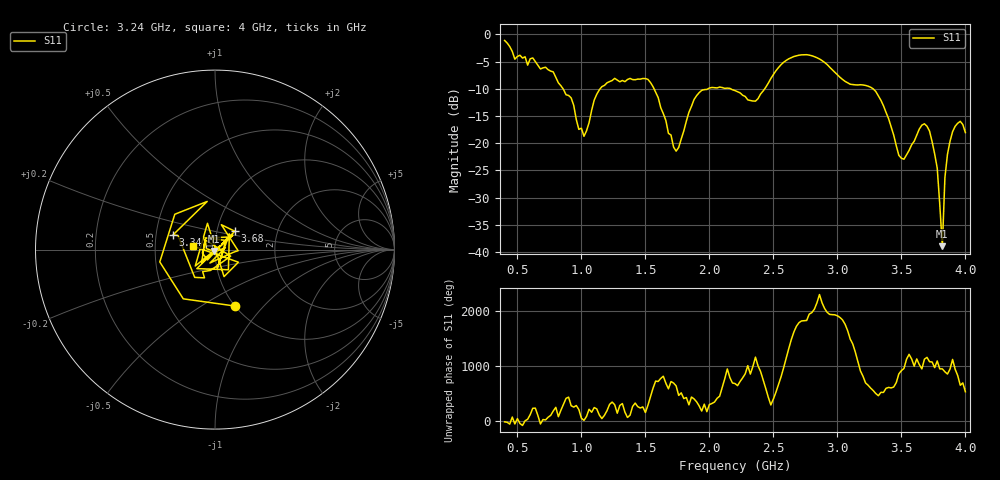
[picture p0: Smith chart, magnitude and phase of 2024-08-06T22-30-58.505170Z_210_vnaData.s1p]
!Created with skrf (http://scikit-rf.org).
# Hz S RI R 50.0
!freq ReS11 ImS11
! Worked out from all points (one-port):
!   181 points, 400 MHz to 4 GHz, reference 50 ohm
!   lowest |S11| = -38.9 dB at 3.82 GHz (marker M1), VSWR 1.02, Z = 49.2 - j0.813 ohm
!   |S11| at or under -10 dB: 856.3 MHz to 1.147 GHz (290.5 MHz wide, 29 % of centre); 1.567 GHz to 1.99 GHz (422.6 MHz wide, 23.8 % of centre); 3.278 GHz to end of sweep (the widest 3 of 4)
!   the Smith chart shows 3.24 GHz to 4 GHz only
!   S11 on the Smith chart (normalised r, x): 3.24 GHz: 1.00, -0.71; 3.34 GHz: 0.61, +0.11; 3.68 GHz: 1.22, +0.25; 4 GHz: 0.78, +0.03
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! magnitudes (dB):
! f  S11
! 400 MHz  -1.1
! 480 MHz  -4.6
! 620 MHz  -4.3
! 860 MHz  -10.1
! 1.02 GHz  -18.7
! 1.14 GHz  -10.2
! 1.3 GHz  -8.7
! 1.52 GHz  -8.3
! 1.72 GHz  -20.7
! 1.76 GHz  -20.8
! 1.92 GHz  -10.7
! 2.2 GHz  -10.3
! 2.36 GHz  -12.3
! 2.66 GHz  -4.1
! 2.86 GHz  -4.5
! 3.1 GHz  -9.2
! 3.24 GHz  -9.5
! 3.34 GHz  -12.1
! 3.48 GHz  -22.2
! 3.56 GHz  -21.3
! 3.68 GHz  -16.4
! 3.72 GHz  -17.8
! 3.78 GHz  -24.6
! 3.82 GHz  -38.9
! 3.84 GHz  -26.3
! 3.88 GHz  -19.6
! 3.96 GHz  -16.0
! 4 GHz  -18.1
